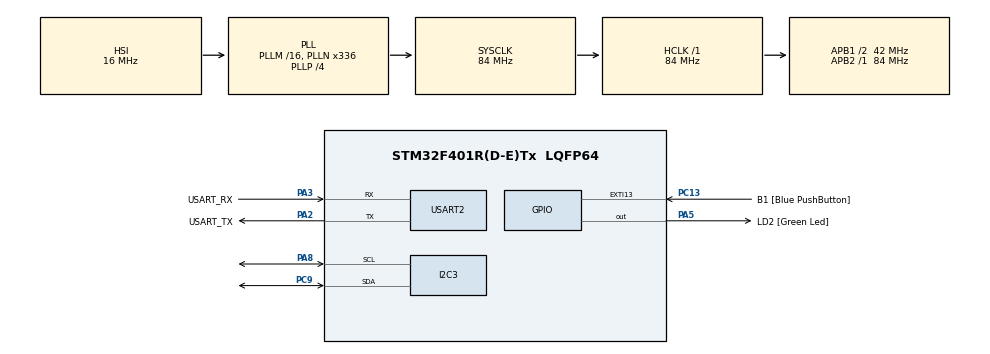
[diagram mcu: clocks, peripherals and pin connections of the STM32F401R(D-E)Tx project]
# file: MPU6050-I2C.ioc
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I2C3.I2C_Mode=I2C_Fast
Mcu.Family=STM32F4
Mcu.Name=STM32F401R(D-E)Tx
Mcu.Package=LQFP64
NVIC.PriorityGroup=NVIC_PRIORITYGROUP_4
PA13.GPIO_Label=TMS
PA13.Mode=Trace_Asynchronous_SW
PA13.Signal=SYS_JTMS-SWDIO
PA14.GPIO_Label=TCK
PA14.Mode=Trace_Asynchronous_SW
PA14.Signal=SYS_JTCK-SWCLK
PA2.GPIO_Label=USART_TX
PA2.GPIO_Mode=GPIO_MODE_AF_PP
PA2.GPIO_PuPd=GPIO_NOPULL
PA2.GPIO_Speed=GPIO_SPEED_FREQ_LOW
PA2.Mode=Asynchronous
PA2.Signal=USART2_TX
PA3.GPIO_Label=USART_RX
PA3.GPIO_Mode=GPIO_MODE_AF_PP
PA3.GPIO_PuPd=GPIO_NOPULL
PA3.GPIO_Speed=GPIO_SPEED_FREQ_LOW
PA3.Mode=Asynchronous
PA3.Signal=USART2_RX
PA5.GPIO_Label=LD2 [Green Led]
PA5.GPIO_Mode=GPIO_MODE_OUTPUT_PP
PA5.GPIO_PuPd=GPIO_NOPULL
PA5.GPIO_Speed=GPIO_SPEED_FREQ_LOW
PA5.Signal=GPIO_Output
PA8.GPIO_Pu=GPIO_PULLUP
PA8.Mode=I2C
PA8.Signal=I2C3_SCL
PB3.GPIO_Label=SWO
PB3.Mode=Trace_Asynchronous_SW
PB3.Signal=SYS_JTDO-SWO
PC13-ANTI_TAMP.GPIO_Label=B1 [Blue PushButton]
PC13-ANTI_TAMP.GPIO_ModeDefaultEXTI=GPIO_MODE_IT_FALLING
PC13-ANTI_TAMP.GPIO_PuPd=GPIO_NOPULL
PC13-ANTI_TAMP.Signal=GPXTI13
PC14-OSC32_IN.Mode=LSE-External-Oscillator
PC14-OSC32_IN.Signal=RCC_OSC32_IN
PC15-OSC32_OUT.Mode=LSE-External-Oscillator
PC15-OSC32_OUT.Signal=RCC_OSC32_OUT
PC9.GPIO_Pu=GPIO_PULLUP
PC9.Mode=I2C
PC9.Signal=I2C3_SDA
PH0\ -\ OSC_IN.Mode=HSE-External-Clock-Source
PH0\ -\ OSC_IN.Signal=RCC_OSC_IN
PH1\ -\ OSC_OUT.Mode=HSE-External-Clock-Source
PH1\ -\ OSC_OUT.Signal=RCC_OSC_OUT
ProjectManager.HeapSize=0x200
ProjectManager.StackSize=0x400
ProjectManager.TargetToolchain=STM32CubeIDE
RCC.48MHZClocksFreq_Value=48000000
RCC.AHBFreq_Value=84000000
RCC.APB1CLKDivider=RCC_HCLK_DIV2
RCC.APB1Freq_Value=42000000
RCC.APB1TimFreq_Value=84000000
RCC.APB2Freq_Value=84000000
RCC.APB2TimFreq_Value=84000000
RCC.CortexFreq_Value=84000000
RCC.HCLKFreq_Value=84000000
RCC.HSE_VALUE=8000000
RCC.HSI_VALUE=16000000
RCC.PLLN=336
RCC.PLLP=RCC_PLLP_DIV4
RCC.PLLQ=7
RCC.SYSCLKFreq_VALUE=84000000
RCC.SYSCLKSource=RCC_SYSCLKSOURCE_PLLCLK
RCC.VCOOutputFreq_Value=336000000
USART2.VirtualMode=VM_ASYNC
board=NUCLEO-F401RE

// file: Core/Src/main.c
/* USER CODE BEGIN Header */
/**
  ******************************************************************************
  * @file           : main.c
  * @brief          : Main program body
  ******************************************************************************
  * @attention
  *
  * Copyright (c) 2026 STMicroelectronics.
  * All rights reserved.
  *
  * This software is licensed under terms that can be found in the LICENSE file
  * in the root directory of this software component.
  * If no LICENSE file comes with this software, it is provided AS-IS.
  *
  ******************************************************************************
  */
/* USER CODE END Header */
#include "main.h"

/* USER CODE BEGIN Includes */
#include "periph_i2c.h"
#include "periph_uart.h"
#include "mpu6050.h"

#include <stdio.h>
#include <stdbool.h>
#include <string.h>
/* USER CODE END Includes */

I2C_HandleTypeDef hi2c3;

UART_HandleTypeDef huart2;

/* USER CODE BEGIN PV */

static bool flag_s = false;

static const char it_works_s[] = "IT'S WORKING!\r\n";

/* USER CODE END PV */

void SystemClock_Config(void);
static void MX_GPIO_Init(void);
static void MX_USART2_UART_Init(void);
static void MX_I2C3_Init(void);
/* USER CODE BEGIN PFP */

void plot_accelerometer_axis(void);

/* USER CODE END PFP */

int main(void)
{

  /* USER CODE BEGIN 1 */
	 uint16_t buffer_len = 0u;
  /* USER CODE END 1 */

  /* MCU Configuration--------------------------------------------------------*/

  /* Reset of all peripherals, Initializes the Flash interface and the Systick. */
  HAL_Init();

  /* Configure the system clock */
  SystemClock_Config();

  /* Initialize all configured peripherals */
  MX_GPIO_Init();
  MX_USART2_UART_Init();
  MX_I2C3_Init();
  /* USER CODE BEGIN 2 */

  if (periph_uart_init(&huart2) == false)
   {
 	  assert(false);
   }

   if (periph_i2c_init(&hi2c3) == false)
   {
 	  assert(false);
   }

   // small delay needed to allow UART to work properly. Still not exactly sure why.
   // This link has a theory but not a why: https://community.st.com/t5/stm32-mcus-products/uart-losing-the-first-byte/td-p/257397
   HAL_Delay(1);

   if(mpu6050_init() == true)
   {
 	  char mpu6050_msg_s[] = "mpu6050 Detected\r\n";
 	  buffer_len = strlen(mpu6050_msg_s);
 	  periph_uart_send_tx_data(mpu6050_msg_s, buffer_len);
   }

  /* USER CODE END 2 */

  /* Infinite loop */
  while (1)
  {

    /* USER CODE BEGIN 3 */
  // Code kept in place from the Interrupt tutorial. Operated by pressing the user button.
	  if (flag_s == true)
	  {
		  buffer_len = strlen(it_works_s);
		  periph_uart_send_tx_data(it_works_s, buffer_len);
		  flag_s = false;
	  }

	  plot_accelerometer_axis();
	  HAL_Delay(250);
	}
  /* USER CODE END 3 */
}

void SystemClock_Config(void)
{
  RCC_OscInitTypeDef RCC_OscInitStruct = {0};
  RCC_ClkInitTypeDef RCC_ClkInitStruct = {0};

  /** Configure the main internal regulator output voltage
  */
  __HAL_RCC_PWR_CLK_ENABLE();
  __HAL_PWR_VOLTAGESCALING_CONFIG(PWR_REGULATOR_VOLTAGE_SCALE2);

  /** Initializes the RCC Oscillators according to the specified parameters
  * in the RCC_OscInitTypeDef structure.
  */
  RCC_OscInitStruct.OscillatorType = RCC_OSCILLATORTYPE_HSI;
  RCC_OscInitStruct.HSIState = RCC_HSI_ON;
  RCC_OscInitStruct.HSICalibrationValue = RCC_HSICALIBRATION_DEFAULT;
  RCC_OscInitStruct.PLL.PLLState = RCC_PLL_ON;
  RCC_OscInitStruct.PLL.PLLSource = RCC_PLLSOURCE_HSI;
  RCC_OscInitStruct.PLL.PLLM = 16;
  RCC_OscInitStruct.PLL.PLLN = 336;
  RCC_OscInitStruct.PLL.PLLP = RCC_PLLP_DIV4;
  RCC_OscInitStruct.PLL.PLLQ = 7;
  if (HAL_RCC_OscConfig(&RCC_OscInitStruct) != HAL_OK)
  {
    Error_Handler();
  }

  /** Initializes the CPU, AHB and APB buses clocks
  */
  RCC_ClkInitStruct.ClockType = RCC_CLOCKTYPE_HCLK|RCC_CLOCKTYPE_SYSCLK
                              |RCC_CLOCKTYPE_PCLK1|RCC_CLOCKTYPE_PCLK2;
  RCC_ClkInitStruct.SYSCLKSource = RCC_SYSCLKSOURCE_PLLCLK;
  RCC_ClkInitStruct.AHBCLKDivider = RCC_SYSCLK_DIV1;
  RCC_ClkInitStruct.APB1CLKDivider = RCC_HCLK_DIV2;
  RCC_ClkInitStruct.APB2CLKDivider = RCC_HCLK_DIV1;

  if (HAL_RCC_ClockConfig(&RCC_ClkInitStruct, FLASH_LATENCY_2) != HAL_OK)
  {
    Error_Handler();
  }
}

static void MX_I2C3_Init(void)
{

  hi2c3.Instance = I2C3;
  hi2c3.Init.ClockSpeed = 400000;
  hi2c3.Init.DutyCycle = I2C_DUTYCYCLE_2;
  hi2c3.Init.OwnAddress1 = 0;
  hi2c3.Init.AddressingMode = I2C_ADDRESSINGMODE_7BIT;
  hi2c3.Init.DualAddressMode = I2C_DUALADDRESS_DISABLE;
  hi2c3.Init.OwnAddress2 = 0;
  hi2c3.Init.GeneralCallMode = I2C_GENERALCALL_DISABLE;
  hi2c3.Init.NoStretchMode = I2C_NOSTRETCH_DISABLE;
  if (HAL_I2C_Init(&hi2c3) != HAL_OK)
  {
    Error_Handler();
  }

}

static void MX_USART2_UART_Init(void)
{

  huart2.Instance = USART2;
  huart2.Init.BaudRate = 115200;
  huart2.Init.WordLength = UART_WORDLENGTH_8B;
  huart2.Init.StopBits = UART_STOPBITS_1;
  huart2.Init.Parity = UART_PARITY_NONE;
  huart2.Init.Mode = UART_MODE_TX_RX;
  huart2.Init.HwFlowCtl = UART_HWCONTROL_NONE;
  huart2.Init.OverSampling = UART_OVERSAMPLING_16;
  if (HAL_UART_Init(&huart2) != HAL_OK)
  {
    Error_Handler();
  }

}

static void MX_GPIO_Init(void)
{
  GPIO_InitTypeDef GPIO_InitStruct = {0};

  /* GPIO Ports Clock Enable */
  __HAL_RCC_GPIOC_CLK_ENABLE();
  __HAL_RCC_GPIOH_CLK_ENABLE();
  __HAL_RCC_GPIOA_CLK_ENABLE();
  __HAL_RCC_GPIOB_CLK_ENABLE();

  /*Configure GPIO pin Output Level */
  HAL_GPIO_WritePin(LD2_GPIO_Port, LD2_Pin, GPIO_PIN_RESET);

  /*Configure GPIO pin : B1_Pin */
  GPIO_InitStruct.Pin = B1_Pin;
  GPIO_InitStruct.Mode = GPIO_MODE_IT_FALLING;
  GPIO_InitStruct.Pull = GPIO_NOPULL;
  HAL_GPIO_Init(B1_GPIO_Port, &GPIO_InitStruct);

  /*Configure GPIO pin : LD2_Pin */
  GPIO_InitStruct.Pin = LD2_Pin;
  GPIO_InitStruct.Mode = GPIO_MODE_OUTPUT_PP;
  GPIO_InitStruct.Pull = GPIO_NOPULL;
  GPIO_InitStruct.Speed = GPIO_SPEED_FREQ_LOW;
  HAL_GPIO_Init(LD2_GPIO_Port, &GPIO_InitStruct);

}

/* USER CODE BEGIN 4 */
void plot_accelerometer_axis(void)
{
    char buffer[100];
    int16_t x = mpu6050_get_x_axis_data();
    int16_t y = mpu6050_get_y_axis_data();
    int16_t z = mpu6050_get_z_axis_data();

    uint16_t len = snprintf(buffer, sizeof(buffer), "X: %d | Y: %d | Z: %d\r\n", x, y, z);
    periph_uart_send_tx_data(buffer, len);
}
/* USER CODE END 4 */

void Error_Handler(void)
{
  __disable_irq();
  while (1)
  {
  }
}
